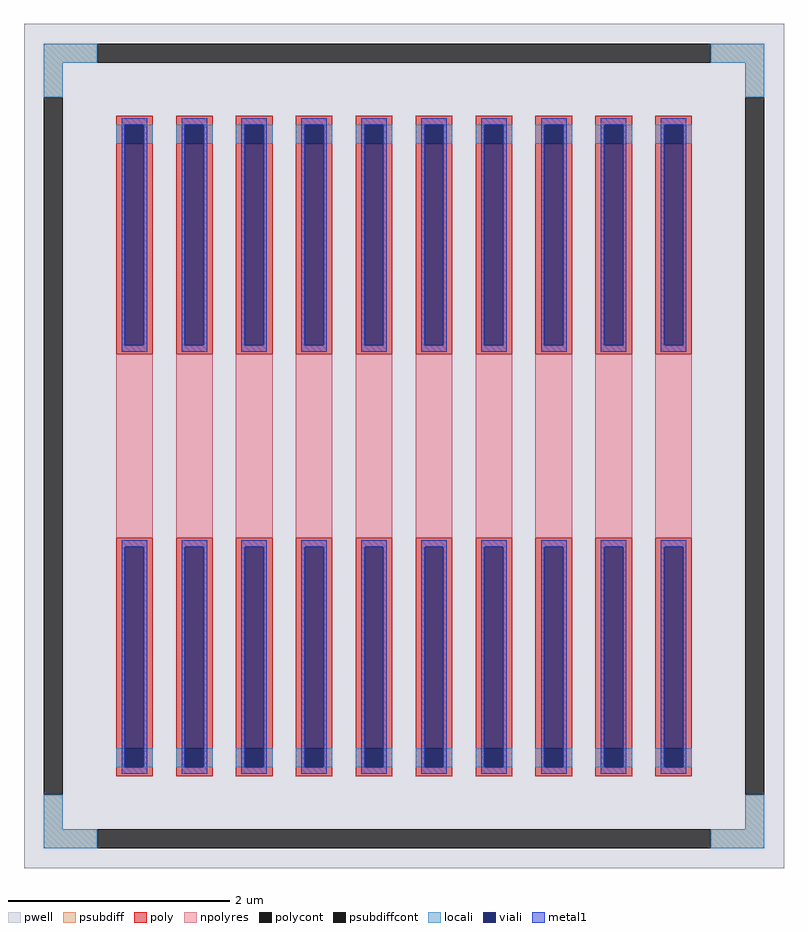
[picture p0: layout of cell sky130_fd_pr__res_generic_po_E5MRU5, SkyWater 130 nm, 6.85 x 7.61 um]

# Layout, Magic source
magic
tech sky130A
magscale 1 2
<< pwell >>
rect -685 -761 685 761
<< psubdiff >>
rect -649 691 -553 725
rect 553 691 649 725
rect -649 629 -615 691
rect 615 629 649 691
rect -649 -691 -615 -629
rect 615 -691 649 -629
rect -649 -725 -553 -691
rect 553 -725 649 -691
<< psubdiffcont >>
rect -553 691 553 725
rect -649 -629 -615 629
rect 615 -629 649 629
rect -553 -725 553 -691
<< poly >>
rect -519 579 -453 595
rect -519 545 -503 579
rect -469 545 -453 579
rect -519 165 -453 545
rect -519 -545 -453 -165
rect -519 -579 -503 -545
rect -469 -579 -453 -545
rect -519 -595 -453 -579
rect -411 579 -345 595
rect -411 545 -395 579
rect -361 545 -345 579
rect -411 165 -345 545
rect -411 -545 -345 -165
rect -411 -579 -395 -545
rect -361 -579 -345 -545
rect -411 -595 -345 -579
rect -303 579 -237 595
rect -303 545 -287 579
rect -253 545 -237 579
rect -303 165 -237 545
rect -303 -545 -237 -165
rect -303 -579 -287 -545
rect -253 -579 -237 -545
rect -303 -595 -237 -579
rect -195 579 -129 595
rect -195 545 -179 579
rect -145 545 -129 579
rect -195 165 -129 545
rect -195 -545 -129 -165
rect -195 -579 -179 -545
rect -145 -579 -129 -545
rect -195 -595 -129 -579
rect -87 579 -21 595
rect -87 545 -71 579
rect -37 545 -21 579
rect -87 165 -21 545
rect -87 -545 -21 -165
rect -87 -579 -71 -545
rect -37 -579 -21 -545
rect -87 -595 -21 -579
rect 21 579 87 595
rect 21 545 37 579
rect 71 545 87 579
rect 21 165 87 545
rect 21 -545 87 -165
rect 21 -579 37 -545
rect 71 -579 87 -545
rect 21 -595 87 -579
rect 129 579 195 595
rect 129 545 145 579
rect 179 545 195 579
rect 129 165 195 545
rect 129 -545 195 -165
rect 129 -579 145 -545
rect 179 -579 195 -545
rect 129 -595 195 -579
rect 237 579 303 595
rect 237 545 253 579
rect 287 545 303 579
rect 237 165 303 545
rect 237 -545 303 -165
rect 237 -579 253 -545
rect 287 -579 303 -545
rect 237 -595 303 -579
rect 345 579 411 595
rect 345 545 361 579
rect 395 545 411 579
rect 345 165 411 545
rect 345 -545 411 -165
rect 345 -579 361 -545
rect 395 -579 411 -545
rect 345 -595 411 -579
rect 453 579 519 595
rect 453 545 469 579
rect 503 545 519 579
rect 453 165 519 545
rect 453 -545 519 -165
rect 453 -579 469 -545
rect 503 -579 519 -545
rect 453 -595 519 -579
<< polycont >>
rect -503 545 -469 579
rect -503 -579 -469 -545
rect -395 545 -361 579
rect -395 -579 -361 -545
rect -287 545 -253 579
rect -287 -579 -253 -545
rect -179 545 -145 579
rect -179 -579 -145 -545
rect -71 545 -37 579
rect -71 -579 -37 -545
rect 37 545 71 579
rect 37 -579 71 -545
rect 145 545 179 579
rect 145 -579 179 -545
rect 253 545 287 579
rect 253 -579 287 -545
rect 361 545 395 579
rect 361 -579 395 -545
rect 469 545 503 579
rect 469 -579 503 -545
<< npolyres >>
rect -519 -165 -453 165
rect -411 -165 -345 165
rect -303 -165 -237 165
rect -195 -165 -129 165
rect -87 -165 -21 165
rect 21 -165 87 165
rect 129 -165 195 165
rect 237 -165 303 165
rect 345 -165 411 165
rect 453 -165 519 165
<< locali >>
rect -649 691 -553 725
rect 553 691 649 725
rect -649 629 -615 691
rect 615 629 649 691
rect -519 545 -503 579
rect -469 545 -453 579
rect -411 545 -395 579
rect -361 545 -345 579
rect -303 545 -287 579
rect -253 545 -237 579
rect -195 545 -179 579
rect -145 545 -129 579
rect -87 545 -71 579
rect -37 545 -21 579
rect 21 545 37 579
rect 71 545 87 579
rect 129 545 145 579
rect 179 545 195 579
rect 237 545 253 579
rect 287 545 303 579
rect 345 545 361 579
rect 395 545 411 579
rect 453 545 469 579
rect 503 545 519 579
rect -519 -579 -503 -545
rect -469 -579 -453 -545
rect -411 -579 -395 -545
rect -361 -579 -345 -545
rect -303 -579 -287 -545
rect -253 -579 -237 -545
rect -195 -579 -179 -545
rect -145 -579 -129 -545
rect -87 -579 -71 -545
rect -37 -579 -21 -545
rect 21 -579 37 -545
rect 71 -579 87 -545
rect 129 -579 145 -545
rect 179 -579 195 -545
rect 237 -579 253 -545
rect 287 -579 303 -545
rect 345 -579 361 -545
rect 395 -579 411 -545
rect 453 -579 469 -545
rect 503 -579 519 -545
rect -649 -691 -615 -629
rect 615 -691 649 -629
rect -649 -725 -553 -691
rect 553 -725 649 -691
<< viali >>
rect -503 545 -469 579
rect -395 545 -361 579
rect -287 545 -253 579
rect -179 545 -145 579
rect -71 545 -37 579
rect 37 545 71 579
rect 145 545 179 579
rect 253 545 287 579
rect 361 545 395 579
rect 469 545 503 579
rect -503 182 -469 545
rect -395 182 -361 545
rect -287 182 -253 545
rect -179 182 -145 545
rect -71 182 -37 545
rect 37 182 71 545
rect 145 182 179 545
rect 253 182 287 545
rect 361 182 395 545
rect 469 182 503 545
rect -503 -545 -469 -182
rect -395 -545 -361 -182
rect -287 -545 -253 -182
rect -179 -545 -145 -182
rect -71 -545 -37 -182
rect 37 -545 71 -182
rect 145 -545 179 -182
rect 253 -545 287 -182
rect 361 -545 395 -182
rect 469 -545 503 -182
rect -503 -579 -469 -545
rect -395 -579 -361 -545
rect -287 -579 -253 -545
rect -179 -579 -145 -545
rect -71 -579 -37 -545
rect 37 -579 71 -545
rect 145 -579 179 -545
rect 253 -579 287 -545
rect 361 -579 395 -545
rect 469 -579 503 -545
<< metal1 >>
rect -509 579 -463 591
rect -509 182 -503 579
rect -469 182 -463 579
rect -509 170 -463 182
rect -401 579 -355 591
rect -401 182 -395 579
rect -361 182 -355 579
rect -401 170 -355 182
rect -293 579 -247 591
rect -293 182 -287 579
rect -253 182 -247 579
rect -293 170 -247 182
rect -185 579 -139 591
rect -185 182 -179 579
rect -145 182 -139 579
rect -185 170 -139 182
rect -77 579 -31 591
rect -77 182 -71 579
rect -37 182 -31 579
rect -77 170 -31 182
rect 31 579 77 591
rect 31 182 37 579
rect 71 182 77 579
rect 31 170 77 182
rect 139 579 185 591
rect 139 182 145 579
rect 179 182 185 579
rect 139 170 185 182
rect 247 579 293 591
rect 247 182 253 579
rect 287 182 293 579
rect 247 170 293 182
rect 355 579 401 591
rect 355 182 361 579
rect 395 182 401 579
rect 355 170 401 182
rect 463 579 509 591
rect 463 182 469 579
rect 503 182 509 579
rect 463 170 509 182
rect -509 -182 -463 -170
rect -509 -579 -503 -182
rect -469 -579 -463 -182
rect -509 -591 -463 -579
rect -401 -182 -355 -170
rect -401 -579 -395 -182
rect -361 -579 -355 -182
rect -401 -591 -355 -579
rect -293 -182 -247 -170
rect -293 -579 -287 -182
rect -253 -579 -247 -182
rect -293 -591 -247 -579
rect -185 -182 -139 -170
rect -185 -579 -179 -182
rect -145 -579 -139 -182
rect -185 -591 -139 -579
rect -77 -182 -31 -170
rect -77 -579 -71 -182
rect -37 -579 -31 -182
rect -77 -591 -31 -579
rect 31 -182 77 -170
rect 31 -579 37 -182
rect 71 -579 77 -182
rect 31 -591 77 -579
rect 139 -182 185 -170
rect 139 -579 145 -182
rect 179 -579 185 -182
rect 139 -591 185 -579
rect 247 -182 293 -170
rect 247 -579 253 -182
rect 287 -579 293 -182
rect 247 -591 293 -579
rect 355 -182 401 -170
rect 355 -579 361 -182
rect 395 -579 401 -182
rect 355 -591 401 -579
rect 463 -182 509 -170
rect 463 -579 469 -182
rect 503 -579 509 -182
rect 463 -591 509 -579
<< properties >>
string FIXED_BBOX -632 -708 632 708
string gencell sky130_fd_pr__res_generic_po
string library sky130
string parameters w 0.330 l 1.650 m 1 nx 10 wmin 0.330 lmin 1.650 rho 48.2 val 241.0 dummy 0 dw 0.0 term 0.0 sterm 0.0 caplen 0.4 snake 0 guard 1 glc 1 grc 1 gtc 1 gbc 1 roverlap 0 endcov 100 full_metal 1 hv_guard 0 n_guard 0 vias 1 viagb 0 viagt 0 viagl 0 viagr 0
<< end >>
